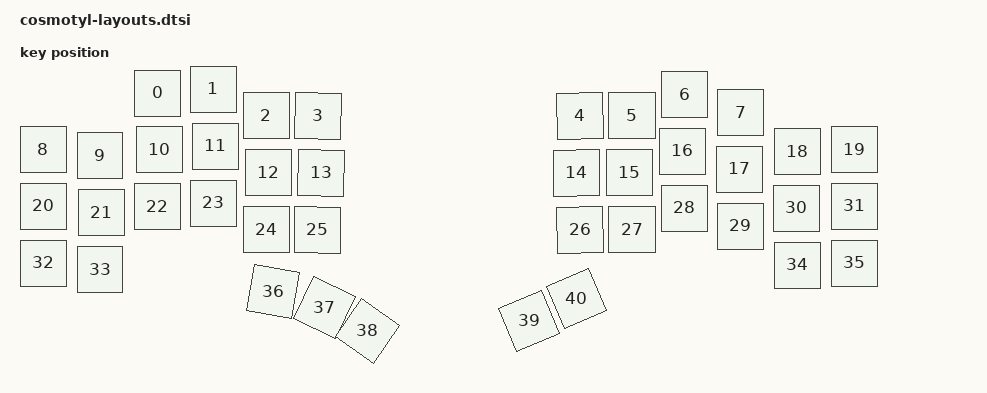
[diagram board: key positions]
// See https://zmk.dev/docs/development/hardware-integration/physical-layouts
// for how to configure this.

#include <physical_layouts.dtsi>

/ {
    default_layout: default_layout {
        compatible = "zmk,physical-layout";
        display-name = "Default Layout";
        transform = <&default_transform>;
        kscan = <&kscan>;

        // Edit this to define the positions and sizes of the keys, or remove it
        // if your keyboard will not support ZMK Studio.
        // https://zmk.dev/docs/development/hardware-integration/physical-layouts#optional-keys-property
        keys  //                     w   h    x    y     rot    rx    ry
            = <&key_physical_attrs 100 100  229    8       0     0     0>
            , <&key_physical_attrs 100 100  340    0       0     0     0>
            , <&key_physical_attrs 100 100  446   53       0     0     0>
            , <&key_physical_attrs 100 100  550   54     100   600   104>
            , <&key_physical_attrs 100 100 1074   54  (-100)  1124   104>
            , <&key_physical_attrs 100 100 1178   53       0     0     0>
            , <&key_physical_attrs 100 100 1283   11       0     0     0>
            , <&key_physical_attrs 100 100 1395   47       0     0     0>
            , <&key_physical_attrs 100 100    0  121       0     0     0>
            , <&key_physical_attrs 100 100  114  133       0     0     0>
            , <&key_physical_attrs 100 100  232  121       0     0     0>
            , <&key_physical_attrs 100 100  345  114       0     0     0>
            , <&key_physical_attrs 100 100  451  167       0     0     0>
            , <&key_physical_attrs 100 100  556  168     100   606   218>
            , <&key_physical_attrs 100 100 1067  168  (-100)  1117   218>
            , <&key_physical_attrs 100 100 1172  167       0     0     0>
            , <&key_physical_attrs 100 100 1279  124       0     0     0>
            , <&key_physical_attrs 100 100 1392  160       0     0     0>
            , <&key_physical_attrs 100 100 1509  125       0     0     0>
            , <&key_physical_attrs 100 100 1623  121       0     0     0>
            , <&key_physical_attrs 100 100    1  234       0     0     0>
            , <&key_physical_attrs 100 100  116  247       0     0     0>
            , <&key_physical_attrs 100 100  229  235       0     0     0>
            , <&key_physical_attrs 100 100  340  228       0     0     0>
            , <&key_physical_attrs 100 100  446  281       0     0     0>
            , <&key_physical_attrs 100 100  549  282     100   599   332>
            , <&key_physical_attrs 100 100 1074  282  (-100)  1124   332>
            , <&key_physical_attrs 100 100 1178  281       0     0     0>
            , <&key_physical_attrs 100 100 1283  238       0     0     0>
            , <&key_physical_attrs 100 100 1395  274       0     0     0>
            , <&key_physical_attrs 100 100 1507  238       0     0     0>
            , <&key_physical_attrs 100 100 1623  234       0     0     0>
            , <&key_physical_attrs 100 100    0  348       0     0     0>
            , <&key_physical_attrs 100 100  114  361       0     0     0>
            , <&key_physical_attrs 100 100 1509  352       0     0     0>
            , <&key_physical_attrs 100 100 1623  348       0     0     0>
            , <&key_physical_attrs 100 100  460  405    1000   510   455>
            , <&key_physical_attrs 100 100  563  437    2500   613   487>
            , <&key_physical_attrs 100 100  649  484    3500   699   534>
            , <&key_physical_attrs 100 100  972  464 (-2300)  1022   514>
            , <&key_physical_attrs 100 100 1067  419 (-2400)  1117   469>
            ;
    };
};

/ {
  keypad_position_map {
      compatible = "zmk,physical-layout-position-map";
      complete;

      cosmotyl_map: cosmotyl {
          positions = <
                           0  1  2  3      4  5  6  7
                     8  9 10 11 12 13     14 15 16 17 18 19
                    20 21 22 23 24 25     26 27 28 29 30 31
                    32 33                             34 35
                             36 37 38     39 40
          >;
      };
  };
};

/ {
  chosen {
      zmk,physical-layout = &default_layout;
  };
};
